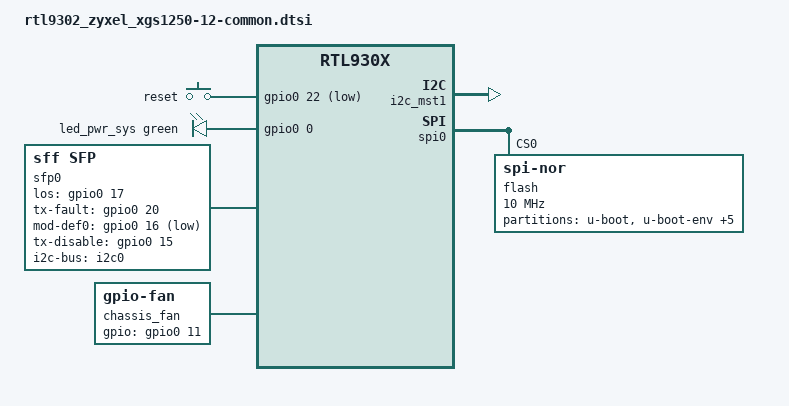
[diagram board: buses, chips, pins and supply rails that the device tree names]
// SPDX-License-Identifier: GPL-2.0-or-later
/dts-v1/;

#include "rtl930x.dtsi"

#include <dt-bindings/input/input.h>
#include <dt-bindings/gpio/gpio.h>
#include <dt-bindings/leds/common.h>
#include <dt-bindings/thermal/thermal.h>

/ {
	aliases {
		led-boot = &led_pwr_sys;
		led-failsafe = &led_pwr_sys;
		led-running = &led_pwr_sys;
		led-upgrade = &led_pwr_sys;
	};

	keys {
		compatible = "gpio-keys";

		mode {
			label = "reset";
			gpios = <&gpio0 22 GPIO_ACTIVE_LOW>;
			linux,code = <KEY_RESTART>;
		};
	};

	leds {
		compatible = "gpio-leds";

		pinctrl-names = "default";
		pinctrl-0 = <&pinmux_disable_sys_led>;

		led_pwr_sys: led-0 {
			color = <LED_COLOR_ID_GREEN>;
			function = LED_FUNCTION_POWER;
			gpios = <&gpio0 0 GPIO_ACTIVE_HIGH>;
		};
	};

	sfp0: sfp-p12 {
		compatible = "sff,sfp";
		i2c-bus = <&i2c0>;
		los-gpio = <&gpio0 17 GPIO_ACTIVE_HIGH>;
		tx-fault-gpio = <&gpio0 20 GPIO_ACTIVE_HIGH>;
		mod-def0-gpio = <&gpio0 16 GPIO_ACTIVE_LOW>;
		tx-disable-gpio = <&gpio0 15 GPIO_ACTIVE_HIGH>;
	};

	led_set: led_set {
		compatible = "realtek,rtl9300-leds";
		active-low;

		/* [Lime] [Amber] */
		led_set0 = <(RTL93XX_LED_SET_1G | RTL93XX_LED_SET_LINK | RTL93XX_LED_SET_ACT)
			    (RTL93XX_LED_SET_100M | RTL93XX_LED_SET_10M | RTL93XX_LED_SET_LINK |
			     RTL93XX_LED_SET_ACT)>;

		/* [Blue?] [Lime] [Amber] [Green?] */
		led_set1 = <(RTL93XX_LED_SET_10G | RTL93XX_LED_SET_5G | RTL93XX_LED_SET_2P5G |
			     RTL93XX_LED_SET_LINK | RTL93XX_LED_SET_ACT)
			    (RTL93XX_LED_SET_2P5G | RTL93XX_LED_SET_1G | RTL93XX_LED_SET_LINK |
			     RTL93XX_LED_SET_ACT)
			    (RTL93XX_LED_SET_5G | RTL93XX_LED_SET_100M | RTL93XX_LED_SET_LINK |
			     RTL93XX_LED_SET_ACT)
			    (RTL93XX_LED_SET_10G | RTL93XX_LED_SET_5G | RTL93XX_LED_SET_2P5G |
			     RTL93XX_LED_SET_LINK | RTL93XX_LED_SET_ACT)>;

		/* [Lime] [Blue] */
		led_set2 = <(RTL93XX_LED_SET_1G | RTL93XX_LED_SET_LINK | RTL93XX_LED_SET_ACT)
			    (RTL93XX_LED_SET_10G | RTL93XX_LED_SET_LINK | RTL93XX_LED_SET_ACT)>;
	};

	thermal-zones {
		phy24-thermal {
			/* Poll every 10 seconds */
			polling-delay-passive = <10000>;
			polling-delay = <10000>;
			thermal-sensors = <&phy24>;

			trips {
				phy24_trip0: phy24-trip0 {
					/* At 80 degrees turn on fan */
					temperature = <80000>;
					hysteresis = <1000>;
					type = "active";
				};

				phy24_trip1: phy24-trip1 {
					/* At 108 degrees phys exceed spec */
					temperature = <108000>;
					hysteresis = <5000>;
					type = "critical";
				};
			};

			cooling-maps {
				map {
					trip = <&phy24_trip0>;
					cooling-device = <&chassis_fan THERMAL_NO_LIMIT THERMAL_NO_LIMIT>;
				};
			};
		};

		phy25-thermal {
			/* Poll every 10 seconds */
			polling-delay-passive = <10000>;
			polling-delay = <10000>;
			thermal-sensors = <&phy25>;

			trips {
				phy25_trip0: phy25-trip0 {
					/* At 80 degrees turn on fan */
					temperature = <80000>;
					hysteresis = <1000>;
					type = "active";
				};

				phy25_trip1: phy25-trip1 {
					/* At 108 degrees phys exceed spec */
					temperature = <108000>;
					hysteresis = <5000>;
					type = "critical";
				};
			};

			cooling-maps {
				map {
					trip = <&phy25_trip0>;
					cooling-device = <&chassis_fan THERMAL_NO_LIMIT THERMAL_NO_LIMIT>;
				};
			};
		};

		phy26-thermal {
			/* Poll every 10 seconds */
			polling-delay-passive = <10000>;
			polling-delay = <10000>;
			thermal-sensors = <&phy26>;

			trips {
				phy26_trip0: phy26-trip0 {
					/* At 80 degrees turn on fan */
					temperature = <80000>;
					hysteresis = <1000>;
					type = "active";
				};

				phy26_trip1: phy26-trip1 {
					/* At 108 degrees phys exceed spec */
					temperature = <108000>;
					hysteresis = <5000>;
					type = "critical";
				};
			};

			cooling-maps {
				map {
					trip = <&phy26_trip0>;
					cooling-device = <&chassis_fan THERMAL_NO_LIMIT THERMAL_NO_LIMIT>;
				};
			};
		};
	};

	/* YEN SUN TECHNOLOGY FD122510LL-N fan */
	chassis_fan: gpio-fan {
		compatible = "gpio-fan";
		gpios = <&gpio0 11 GPIO_ACTIVE_HIGH>;
		gpio-fan,speed-map = <0    0
				      7000 1>;
		#cooling-cells = <2>;
	};
};

&i2c_mst1 {
	status = "okay";

	/* i2c of the SFP+ cage; port 12 */
	i2c0: i2c@1 {
		reg = <1>;
	};
};

&spi0 {
	status = "okay";
	flash@0 {
		compatible = "jedec,spi-nor";
		reg = <0>;
		spi-max-frequency = <10000000>;

		partitions {
			compatible = "fixed-partitions";
			#address-cells = <1>;
			#size-cells = <1>;

			partition@0 {
				label = "u-boot";
				reg = <0x0 0xe0000>;
				read-only;
			};
			partition@e0000 {
				label = "u-boot-env";
				reg = <0xe0000 0x10000>;
			};
			partition@f0000 {
				label = "u-boot-env2";
				reg = <0xf0000 0x10000>;
				read-only;
			};
			partition@100000 {
				label = "jffs";
				reg = <0x100000 0x100000>;
			};
			partition@200000 {
				label = "jffs2";
				reg = <0x200000 0x100000>;
			};
			partition@b300000 {
				label = "firmware";
				reg = <0x300000 0xce0000>;
				compatible = "openwrt,uimage", "denx,uimage";
				openwrt,ih-magic = <0x93001250>;
			};
			partition@fe0000 {
				label = "log";
				reg = <0xfe0000 0x20000>;
			};
		};
	};
};

&mdio_bus0 {
	/*
	 * External RTL8218D or RTL8218E PHY
	 *
	 * reset-gpios = <&gpio0 21 GPIO_ACTIVE_LOW>;
	 * disabled because we do not know how to bring up again
	 */
	PHY_C22(0, 0)
	PHY_C22(1, 1)
	PHY_C22(2, 2)
	PHY_C22(3, 3)
	PHY_C22(4, 4)
	PHY_C22(5, 5)
	PHY_C22(6, 6)
	PHY_C22(7, 7)
};

&switch0 {
	ethernet-ports {
		#address-cells = <1>;
		#size-cells = <0>;

		SWITCH_PORT_LED(0, 1, 2, 0, 0, usxgmii)
		SWITCH_PORT_LED(1, 2, 2, 1, 0, usxgmii)
		SWITCH_PORT_LED(2, 3, 2, 2, 0, usxgmii)
		SWITCH_PORT_LED(3, 4, 2, 3, 0, usxgmii)
		SWITCH_PORT_LED(4, 5, 2, 4, 0, usxgmii)
		SWITCH_PORT_LED(5, 6, 2, 5, 0, usxgmii)
		SWITCH_PORT_LED(6, 7, 2, 6, 0, usxgmii)
		SWITCH_PORT_LED(7, 8, 2, 7, 0, usxgmii)

		SWITCH_PORT_LED(24, 9, 6, 0, 1, usxgmii)
		SWITCH_PORT_LED(25, 10, 7, 0, 1, usxgmii)
		SWITCH_PORT_LED(26, 11, 8, 0, 1, usxgmii)

		SWITCH_PORT_SFP(27, 12, 9, 2, 0)

		port@28 {
			ethernet = <&ethernet0>;
			reg = <28>;
			phy-mode = "internal";
			fixed-link {
				speed = <1000>;
				full-duplex;
			};
		};
	};
};
